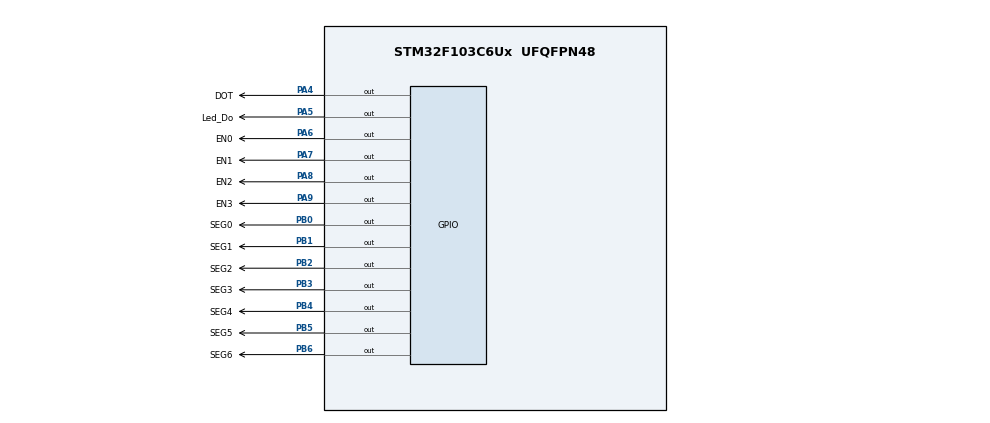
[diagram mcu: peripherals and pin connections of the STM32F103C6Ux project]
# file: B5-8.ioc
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Mcu.Family=STM32F1
Mcu.Name=STM32F103C6Ux
Mcu.Package=UFQFPN48
NVIC.PriorityGroup=NVIC_PRIORITYGROUP_4
NVIC.TIM2_IRQn=true\:0\:0\:false\:false\:true\:true\:true
PA4.GPIO_Label=DOT
PA4.Signal=GPIO_Output
PA5.GPIO_Label=Led_Do
PA5.Signal=GPIO_Output
PA6.GPIO_Label=EN0
PA6.Signal=GPIO_Output
PA7.GPIO_Label=EN1
PA7.Signal=GPIO_Output
PA8.GPIO_Label=EN2
PA8.Signal=GPIO_Output
PA9.GPIO_Label=EN3
PA9.Signal=GPIO_Output
PB0.GPIO_Label=SEG0
PB0.Signal=GPIO_Output
PB1.GPIO_Label=SEG1
PB1.Signal=GPIO_Output
PB2.GPIO_Label=SEG2
PB2.Signal=GPIO_Output
PB3.GPIO_Label=SEG3
PB3.Signal=GPIO_Output
PB4.GPIO_Label=SEG4
PB4.Signal=GPIO_Output
PB5.GPIO_Label=SEG5
PB5.Signal=GPIO_Output
PB6.GPIO_Label=SEG6
PB6.Signal=GPIO_Output
ProjectManager.HeapSize=0x200
ProjectManager.StackSize=0x400
ProjectManager.TargetToolchain=STM32CubeIDE
RCC.APB1Freq_Value=8000000
RCC.APB2Freq_Value=8000000
TIM2.Period=9
TIM2.Prescaler=7999
VP_SYS_VS_ND.Mode=No_Debug
VP_TIM2_VS_ClockSourceINT.Mode=Internal
board=custom

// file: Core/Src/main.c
/* USER CODE BEGIN Header */
/**
  ******************************************************************************
  * @file           : main.c
  * @brief          : Main program body
  ******************************************************************************
  * @attention
  *
  * <h2><center>&copy; Copyright (c) 2025 STMicroelectronics.
  * All rights reserved.</center></h2>
  *
  * This software component is licensed by ST under BSD 3-Clause license,
  * the "License"; You may not use this file except in compliance with the
  * License. You may obtain a copy of the License at:
  *                        opensource.org/licenses/BSD-3-Clause
  *
  ******************************************************************************
  */
/* USER CODE END Header */
#include "main.h"
#include "software_timer.h"

TIM_HandleTypeDef htim2;

/* USER CODE BEGIN PV */
int led_buffer[4];
int hour = 23, minute = 59, second = 55;
int index_led = 0;
const int SEGMENT_CODES[10] = {
    0x3F, // 0: a,b,c,d,e,f
    0x06, // 1: b,c
    0x5B, // 2: a,b,d,e,g
    0x4F, // 3: a,b,c,d,g
    0x66, // 4: b,c,f,g
    0x6D, // 5: a,c,d,f,g
    0x7D, // 6: a,c,d,e,f,g
    0x07, // 7: a,b,c
    0x7F, // 8: a,b,c,d,e,f,g
    0x6F  // 9: a,b,c,d,f,g
};
/* USER CODE END PV */

void SystemClock_Config(void);
static void MX_GPIO_Init(void);
static void MX_TIM2_Init(void);
/* USER CODE BEGIN PFP */
void updateClockBuffer(void);
void update7SEG(int index);
/* USER CODE END PFP */

int main(void)
{

  /* MCU Configuration--------------------------------------------------------*/

  /* Reset of all peripherals, Initializes the Flash interface and the Systick. */
  HAL_Init();

  /* Configure the system clock */
  SystemClock_Config();

  /* Initialize all configured peripherals */
  MX_GPIO_Init();
  // Turn off all 7-segment digits initially to prevent flickering
  HAL_GPIO_WritePin(GPIOA, EN0_Pin | EN1_Pin | EN2_Pin | EN3_Pin, GPIO_PIN_SET);
  // Turn off LED_RED and DOT initially to prevent flickering
  HAL_GPIO_WritePin(GPIOA, Led_Do_Pin | DOT_Pin, GPIO_PIN_RESET);
  MX_TIM2_Init();
  /* USER CODE BEGIN 2 */
  HAL_TIM_Base_Start_IT(&htim2);
  setTimer1(250);  // Timer for 7-segment multiplexing (250ms per digit)
  updateClockBuffer();
  // Initialize the first 7-segment digit immediately without delay
  update7SEG(index_led);
  index_led = (index_led + 1) % 4;
  /* USER CODE END 2 */

  /* Infinite loop */
  /* USER CODE BEGIN WHILE */
  while (1)
  {
    if (timer1_flag == 1) {
      if (index_led == 0) {
        second++;
        if (second >= 60) {
          second = 0;
          minute++;
        }
        if (minute >= 60) {
          minute = 0;
          hour++;
        }
        if (hour >= 24) {
          hour = 0;
        }
        HAL_GPIO_TogglePin(GPIOA, Led_Do_Pin | DOT_Pin);
        updateClockBuffer();
      }
      update7SEG(index_led);
      index_led = (index_led + 1) % 4;
      setTimer1(250); // 250ms for each 7-segment digit
    }
    /* USER CODE END WHILE */

  }
}

void SystemClock_Config(void)
{
  RCC_OscInitTypeDef RCC_OscInitStruct = {0};
  RCC_ClkInitTypeDef RCC_ClkInitStruct = {0};

  /** Initializes the RCC Oscillators according to the specified parameters
  * in the RCC_OscInitTypeDef structure.
  */
  RCC_OscInitStruct.OscillatorType = RCC_OSCILLATORTYPE_HSI;
  RCC_OscInitStruct.HSIState = RCC_HSI_ON;
  RCC_OscInitStruct.HSICalibrationValue = RCC_HSICALIBRATION_DEFAULT;
  RCC_OscInitStruct.PLL.PLLState = RCC_PLL_NONE;
  if (HAL_RCC_OscConfig(&RCC_OscInitStruct) != HAL_OK)
  {
    Error_Handler();
  }
  /** Initializes the CPU, AHB and APB buses clocks
  */
  RCC_ClkInitStruct.ClockType = RCC_CLOCKTYPE_HCLK|RCC_CLOCKTYPE_SYSCLK
                              |RCC_CLOCKTYPE_PCLK1|RCC_CLOCKTYPE_PCLK2;
  RCC_ClkInitStruct.SYSCLKSource = RCC_SYSCLKSOURCE_HSI;
  RCC_ClkInitStruct.AHBCLKDivider = RCC_SYSCLK_DIV1;
  RCC_ClkInitStruct.APB1CLKDivider = RCC_HCLK_DIV1;
  RCC_ClkInitStruct.APB2CLKDivider = RCC_HCLK_DIV1;

  if (HAL_RCC_ClockConfig(&RCC_ClkInitStruct, FLASH_LATENCY_0) != HAL_OK)
  {
    Error_Handler();
  }
}

static void MX_TIM2_Init(void)
{

  TIM_ClockConfigTypeDef sClockSourceConfig = {0};
  TIM_MasterConfigTypeDef sMasterConfig = {0};

  htim2.Instance = TIM2;
  htim2.Init.Prescaler = 7999;
  htim2.Init.CounterMode = TIM_COUNTERMODE_UP;
  htim2.Init.Period = 9;
  htim2.Init.ClockDivision = TIM_CLOCKDIVISION_DIV1;
  htim2.Init.AutoReloadPreload = TIM_AUTORELOAD_PRELOAD_DISABLE;
  if (HAL_TIM_Base_Init(&htim2) != HAL_OK)
  {
    Error_Handler();
  }
  sClockSourceConfig.ClockSource = TIM_CLOCKSOURCE_INTERNAL;
  if (HAL_TIM_ConfigClockSource(&htim2, &sClockSourceConfig) != HAL_OK)
  {
    Error_Handler();
  }
  sMasterConfig.MasterOutputTrigger = TIM_TRGO_RESET;
  sMasterConfig.MasterSlaveMode = TIM_MASTERSLAVEMODE_DISABLE;
  if (HAL_TIMEx_MasterConfigSynchronization(&htim2, &sMasterConfig) != HAL_OK)
  {
    Error_Handler();
  }
}

static void MX_GPIO_Init(void)
{
  GPIO_InitTypeDef GPIO_InitStruct = {0};

  /* GPIO Ports Clock Enable */
  __HAL_RCC_GPIOA_CLK_ENABLE();
  __HAL_RCC_GPIOB_CLK_ENABLE();

  /*Configure GPIO pin Output Level */
  HAL_GPIO_WritePin(GPIOA, DOT_Pin|Led_Do_Pin|EN0_Pin|EN1_Pin
                          |EN2_Pin|EN3_Pin, GPIO_PIN_RESET);

  /*Configure GPIO pin Output Level */
  HAL_GPIO_WritePin(GPIOB, SEG0_Pin|SEG1_Pin|SEG2_Pin|SEG3_Pin
                          |SEG4_Pin|SEG5_Pin|SEG6_Pin, GPIO_PIN_RESET);

  /*Configure GPIO pins : DOT_Pin Led_Do_Pin EN0_Pin EN1_Pin
                           EN2_Pin EN3_Pin */
  GPIO_InitStruct.Pin = DOT_Pin|Led_Do_Pin|EN0_Pin|EN1_Pin
                          |EN2_Pin|EN3_Pin;
  GPIO_InitStruct.Mode = GPIO_MODE_OUTPUT_PP;
  GPIO_InitStruct.Pull = GPIO_NOPULL;
  GPIO_InitStruct.Speed = GPIO_SPEED_FREQ_LOW;
  HAL_GPIO_Init(GPIOA, &GPIO_InitStruct);

  /*Configure GPIO pins : SEG0_Pin SEG1_Pin SEG2_Pin SEG3_Pin
                           SEG4_Pin SEG5_Pin SEG6_Pin */
  GPIO_InitStruct.Pin = SEG0_Pin|SEG1_Pin|SEG2_Pin|SEG3_Pin
                          |SEG4_Pin|SEG5_Pin|SEG6_Pin;
  GPIO_InitStruct.Mode = GPIO_MODE_OUTPUT_PP;
  GPIO_InitStruct.Pull = GPIO_NOPULL;
  GPIO_InitStruct.Speed = GPIO_SPEED_FREQ_LOW;
  HAL_GPIO_Init(GPIOB, &GPIO_InitStruct);
}

/* USER CODE BEGIN 4 */
void HAL_TIM_PeriodElapsedCallback(TIM_HandleTypeDef *htim) {
  if (htim->Instance == TIM2) {
    timer_run();
  }
}

void updateClockBuffer(void) {
  led_buffer[0] = hour / 10; // First digit of hour
  led_buffer[1] = hour % 10; // Second digit of hour
  led_buffer[2] = minute / 10; // First digit of minute
  led_buffer[3] = minute % 10; // Second digit of minute
}

void update7SEG(int index) {
  // Ensure all enable pins are off to turn off all digits
  HAL_GPIO_WritePin(GPIOA, EN0_Pin | EN1_Pin | EN2_Pin | EN3_Pin, GPIO_PIN_SET);

  // Set segment pins for the current digit (assuming common anode, adjust if common cathode)
  HAL_GPIO_WritePin(GPIOB, SEG0_Pin, !(SEGMENT_CODES[led_buffer[index]] & 0x01)); // a
  HAL_GPIO_WritePin(GPIOB, SEG1_Pin, !(SEGMENT_CODES[led_buffer[index]] & 0x02)); // b
  HAL_GPIO_WritePin(GPIOB, SEG2_Pin, !(SEGMENT_CODES[led_buffer[index]] & 0x04)); // c
  HAL_GPIO_WritePin(GPIOB, SEG3_Pin, !(SEGMENT_CODES[led_buffer[index]] & 0x08)); // d
  HAL_GPIO_WritePin(GPIOB, SEG4_Pin, !(SEGMENT_CODES[led_buffer[index]] & 0x10)); // e
  HAL_GPIO_WritePin(GPIOB, SEG5_Pin, !(SEGMENT_CODES[led_buffer[index]] & 0x20)); // f
  HAL_GPIO_WritePin(GPIOB, SEG6_Pin, !(SEGMENT_CODES[led_buffer[index]] & 0x40)); // g

  // Enable only the current digit
  switch (index) {
    case 0: HAL_GPIO_WritePin(GPIOA, EN0_Pin, GPIO_PIN_RESET); break; // Digit 1
    case 1: HAL_GPIO_WritePin(GPIOA, EN1_Pin, GPIO_PIN_RESET); break; // Digit 2
    case 2: HAL_GPIO_WritePin(GPIOA, EN2_Pin, GPIO_PIN_RESET); break; // Digit 3
    case 3: HAL_GPIO_WritePin(GPIOA, EN3_Pin, GPIO_PIN_RESET); break; // Digit 4
  }
}
/* USER CODE END 4 */

void Error_Handler(void)
{
  __disable_irq();
  while (1)
  {
  }
}

/************************ (C) COPYRIGHT STMicroelectronics *****END OF FILE****/
